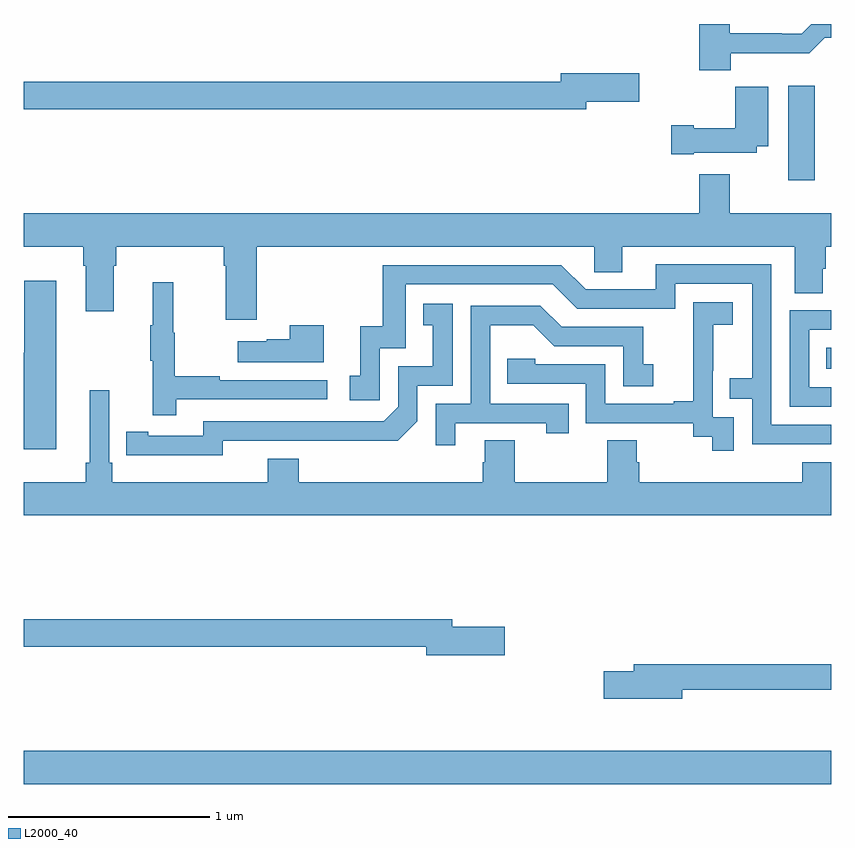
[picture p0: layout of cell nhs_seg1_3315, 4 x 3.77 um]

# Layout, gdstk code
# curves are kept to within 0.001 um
import gdstk
lib = gdstk.Library(unit=1e-6, precision=1e-09)
def R(c, l, rs):  # rectangles x0, y0, x1, y1
    for r in rs: c.add(gdstk.rectangle(r[:2], r[2:], *l))
def P(c, l, *ps):  # polygons
    for p in ps: c.add(gdstk.Polygon(p, *l))
L2000_40 = (2000, 40)

nhs_seg1_3315 = lib.new_cell('nhs_seg1_3315')
R(nhs_seg1_3315, L2000_40, [(291,518.432,295,518.596), (294.976,520.49,295,520.594), (294.788,521.424,294.919,521.893)])
P(nhs_seg1_3315, L2000_40, [(294.502,522.054),(294.891,522.054),(294.969,522.132),(295,522.132),(295,522.199),(294.903,522.199),(294.854,522.15),(294.755,522.15),(294.755,522.153),(294.499,522.153),(294.499,522.199),(294.347,522.199),(294.347,521.969),(294.502,521.969)],
  [(293.788,521.813),(294.049,521.813),(294.049,521.955),(293.66,521.955),(293.66,521.912),(291,521.912),(291,521.776),(293.788,521.776)],
  [(294.319,521.561),(294.633,521.561),(294.633,521.594),(294.688,521.594),(294.688,521.887),(294.526,521.887),(294.526,521.683),(294.319,521.683),(294.319,521.696),(294.207,521.696),(294.207,521.554),(294.319,521.554)],
  [(292.154,521.096),(293.826,521.096),(293.826,520.969),(293.965,520.969),(293.965,521.096),(294.821,521.096),(294.821,520.864),(294.96,520.864),(294.96,520.987),(294.974,520.987),(294.974,521.096),(295,521.096),(295,521.26),(294.499,521.26),(294.499,521.455),(294.347,521.455),(294.347,521.26),(291,521.26),(291,521.096),(291.293,521.096),(291.293,521),(291.305,521),(291.305,520.776),(291.445,520.776),(291.445,521),(291.458,521),(291.458,521.096),(291.989,521.096),(291.989,521),(292.001,521),(292.001,520.734),(292.154,520.734)],
  [(295,520.212),(294.705,520.212),(294.705,521.007),(294.131,521.007),(294.131,520.884),(293.784,520.884),(293.664,521.004),(292.777,521.004),(292.777,520.702),(292.667,520.702),(292.667,520.455),(292.614,520.455),(292.614,520.335),(292.764,520.335),(292.764,520.593),(292.893,520.593),(292.893,520.908),(293.622,520.908),(293.742,520.788),(294.228,520.788),(294.228,520.911),(294.609,520.911),(294.609,520.442),(294.499,520.442),(294.499,520.341),(294.609,520.341),(294.609,520.116),(295,520.116)],
  [(291.16,520.927),(291.002,520.927),(291.002,520.569),(291,520.569),(291,520.092),(291.16,520.092)],
  [(291.755,520.338),(292.504,520.338),(292.504,520.434),(291.971,520.434),(291.971,520.454),(291.748,520.454),(291.748,520.668),(291.74,520.668),(291.74,520.918),(291.638,520.918),(291.638,520.705),(291.627,520.705),(291.627,520.531),(291.638,520.531),(291.638,520.26),(291.755,520.26)],
  [(294.519,520.251),(294.414,520.251),(294.414,520.481),(294.416,520.481),(294.416,520.709),(294.514,520.709),(294.514,520.819),(294.316,520.819),(294.316,520.613),(294.317,520.613),(294.317,520.33),(294.221,520.33),(294.221,520.317),(293.88,520.317),(293.88,520.512),(293.535,520.512),(293.535,520.539),(293.395,520.539),(293.395,520.416),(293.784,520.416),(293.784,520.221),(294.318,520.221),(294.318,520.153),(294.411,520.153),(294.411,520.083),(294.519,520.083)],
  [(291.984,520.134),(292.852,520.133),(292.95,520.23),(292.95,520.407),(293.124,520.407),(293.124,520.813),(292.978,520.813),(292.978,520.707),(293.027,520.707),(293.027,520.503),(292.854,520.503),(292.854,520.302),(292.782,520.23),(291.888,520.23),(291.888,520.158),(291.616,520.158),(291.616,520.178),(291.508,520.178),(291.508,520.062),(291.984,520.061)],
  [(293.137,520.221),(293.588,520.221),(293.588,520.17),(293.699,520.17),(293.699,520.317),(293.31,520.317),(293.31,520.706),(293.524,520.706),(293.628,520.602),(293.97,520.602),(293.97,520.404),(294.118,520.404),(294.118,520.513),(294.069,520.513),(294.069,520.698),(293.665,520.698),(293.56,520.803),(293.214,520.803),(293.214,520.317),(293.04,520.317),(293.04,520.11),(293.137,520.11)],
  [(295,520.398),(294.891,520.398),(294.891,520.683),(295,520.683),(295,520.779),(294.795,520.779),(294.795,520.302),(295,520.302)],
  [(292.486,520.705),(292.316,520.705),(292.316,520.637),(292.202,520.637),(292.202,520.627),(292.059,520.627),(292.059,520.523),(292.486,520.523)],
  [(295,520.027),(294.857,520.027),(294.857,519.928),(294.05,519.928),(294.05,520.026),(294.037,520.026),(294.037,520.136),(293.89,520.136),(293.89,519.928),(293.433,519.928),(293.433,520.136),(293.285,520.136),(293.285,520.026),(293.273,520.026),(293.273,519.928),(292.361,519.928),(292.361,520.045),(292.208,520.045),(292.208,519.928),(291.437,519.928),(291.437,520.024),(291.423,520.024),(291.423,520.384),(291.326,520.384),(291.326,520.024),(291.307,520.024),(291.307,519.928),(291,519.928),(291,519.764),(295,519.764)],
  [(293.383,519.212),(293.122,519.212),(293.122,519.248),(291,519.248),(291,519.112),(292.994,519.112),(292.994,519.07),(293.383,519.07)],
  [(294.262,518.898),(295,518.898),(295,519.026),(294.023,519.026),(294.023,518.99),(293.874,518.99),(293.874,518.855),(294.262,518.855)])

lib.write_gds('nhs_seg1_3315.gds')
